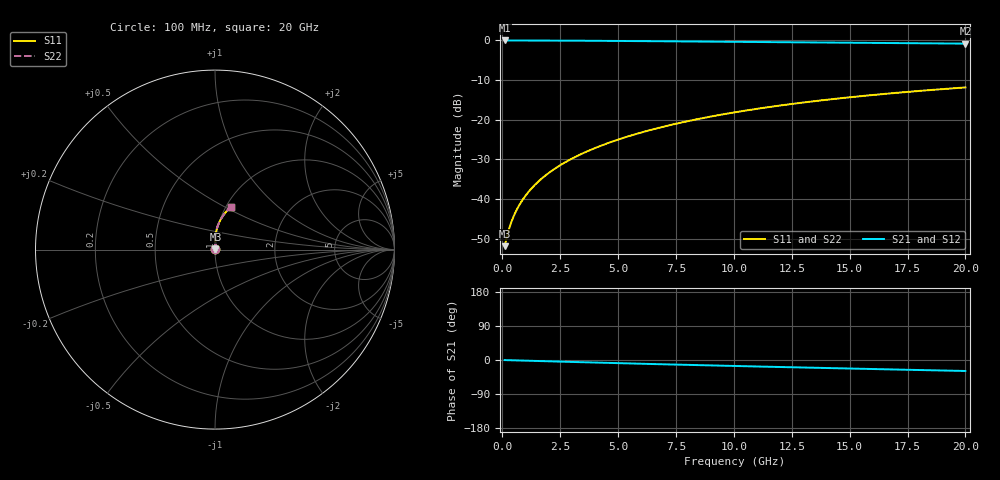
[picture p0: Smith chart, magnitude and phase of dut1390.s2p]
! Touchstone file exported from HFSS 2024.1.0
!  File:  C:/UserFiles/LocalFiles/RDL_TSV_Batchsim/temp_RDL_bottom_1390_1780371955.aedt
!  Generated:  11:48:55 AM Jun  2, 2026
!  Design:  RDL_bottom
!  Project:  temp_RDL_bottom_1390_1780371955
!  Setup:  Setup1
!  Solution:  Sweep
! Variables:
!  dtsv = 10.80580581um
!  hbump = 3um
!  htsv = 88.28um
!  ldown = 410.09um
!  lrdl = 100um
!  p = 40
!  p1 = 47.85um
!  rhole = 1um
!  t = 450um
!  tdown = 2.9um
!  trdl = 3.915915916um
!  wdown = 25.84um
!  wrdl = 20um
# GHz S MA R 50.000000
! Terminal data exported
! Port[1] = RDL1_T1
! Port[2] = RDL1_T2
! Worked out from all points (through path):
!   200 points, 100 MHz to 20 GHz, reference 50 ohm
!   highest |S21| = -0.02 dB at 100 MHz (marker M1); lowest = -0.8 dB at 20 GHz (marker M2)
!   group delay of S21, straight-line fit = 3.98 ps
!   lowest |S11| = -51.9 dB at 100 MHz (marker M3), VSWR 1.01, Z = 50.2 + j0.122 ohm
!   |S11| at or under -10 dB: start of sweep to end of sweep
!   |S22| runs from -51.9 to -11.9 dB; largest |S21 - S12| = 2.7e-15
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0.1  0.002536 28.6  0.9978 -0.2  0.9978 -0.2  0.002536 28.6
! Gamma 0 0 0 0
! Port Impedance 50 0 50 0
0.2  0.003327 45.5  0.9976 -0.4  0.9976 -0.4  0.003327 45.5
0.3  0.004249 54.8  0.9975 -0.5  0.9975 -0.5  0.004249 54.8
0.4  0.005194 60.6  0.9973 -0.7  0.9973 -0.7  0.005194 60.6
0.5  0.00614 64.7  0.9972 -0.9  0.9972 -0.9  0.00614 64.7
0.6  0.007088 67.8  0.997 -1.1  0.997 -1.1  0.007088 67.8
0.8  0.009006 72.4  0.9967 -1.4  0.9967 -1.4  0.009006 72.4
1  0.01096 75.6  0.9965 -1.7  0.9965 -1.7  0.01096 75.6
1.2  0.01295 78.0  0.9962 -2.1  0.9962 -2.1  0.01295 78.0
1.7  0.01806 82.0  0.9952 -2.9  0.9952 -2.9  0.01806 82.0
2.2  0.02335 84.4  0.9941 -3.8  0.9941 -3.8  0.02335 84.4
2.8  0.02991 86.2  0.9924 -4.8  0.9924 -4.8  0.02991 86.3
3.5  0.03787 87.5  0.99 -5.9  0.99 -5.9  0.03788 87.6
4.2  0.04617 88.2  0.9873 -7.1  0.9873 -7.1  0.04617 88.3
5  0.05602 88.5  0.9838 -8.3  0.9838 -8.3  0.05602 88.6
6.8  0.07939 87.9  0.9753 -11.1  0.9753 -11.1  0.07941 87.9
8.4  0.1011 86.4  0.9672 -13.5  0.9672 -13.5  0.1011 86.4
10.1  0.1246 84.2  0.9586 -15.9  0.9586 -15.9  0.1247 84.2
11.7  0.1468 81.9  0.9506 -18.1  0.9506 -18.1  0.1468 82.0
13.4  0.17 79.4  0.9422 -20.4  0.9422 -20.4  0.1701 79.4
16.7  0.2138 74.4  0.9261 -24.8  0.9261 -24.8  0.2138 74.4
20  0.255 69.5  0.91 -29.0  0.91 -29.0  0.2551 69.6
